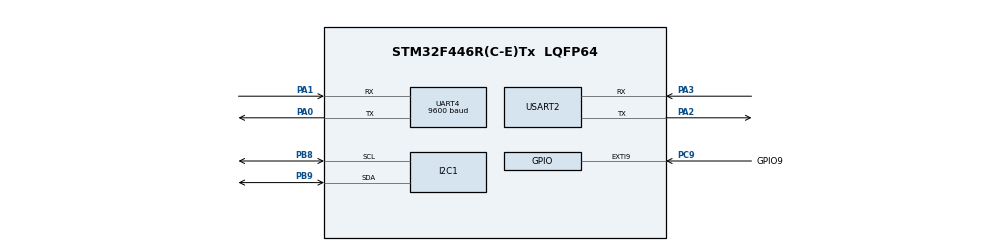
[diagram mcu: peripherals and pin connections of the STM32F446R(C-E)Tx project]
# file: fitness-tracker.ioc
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Mcu.Family=STM32F4
Mcu.Name=STM32F446R(C-E)Tx
Mcu.Package=LQFP64
NVIC.EXTI9_5_IRQn=true\:0\:0\:false\:false\:true\:true\:true\:true
NVIC.PriorityGroup=NVIC_PRIORITYGROUP_4
NVIC.TIM6_DAC_IRQn=true\:15\:0\:false\:false\:true\:false\:true\:true
NVIC.TimeBase=TIM6_DAC_IRQn
NVIC.TimeBaseIP=TIM6
NVIC.UART4_IRQn=true\:0\:0\:false\:false\:true\:true\:true\:true
PA0-WKUP.Mode=Asynchronous
PA0-WKUP.Signal=UART4_TX
PA1.Mode=Asynchronous
PA1.Signal=UART4_RX
PA13.Mode=Trace_Asynchronous_SW
PA13.Signal=SYS_JTMS-SWDIO
PA14.Mode=Trace_Asynchronous_SW
PA14.Signal=SYS_JTCK-SWCLK
PA2.Mode=Asynchronous
PA2.Signal=USART2_TX
PA3.Mode=Asynchronous
PA3.Signal=USART2_RX
PB3.Mode=Trace_Asynchronous_SW
PB3.Signal=SYS_JTDO-SWO
PB8.GPIO_Pu=GPIO_PULLUP
PB8.Mode=I2C
PB8.Signal=I2C1_SCL
PB9.GPIO_Pu=GPIO_PULLUP
PB9.Mode=I2C
PB9.Signal=I2C1_SDA
PC9.GPIO_Label=GPIO9
PC9.GPIO_ModeDefaultEXTI=GPIO_MODE_IT_FALLING
PC9.GPIO_PuPd=GPIO_PULLUP
PC9.Signal=GPXTI9
ProjectManager.HeapSize=0x200
ProjectManager.StackSize=0x400
ProjectManager.TargetToolchain=STM32CubeIDE
RCC.CortexFreq_Value=16000000
RCC.USBFreq_Value=96000000
RCC.VCOOutputFreq_Value=192000000
UART4.BaudRate=9600
UART4.VirtualMode=Asynchronous
USART2.VirtualMode=VM_ASYNC
VP_SYS_VS_tim6.Mode=TIM6
board=custom

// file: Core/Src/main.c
/* USER CODE BEGIN Header */
/**
  ******************************************************************************
  * @file           : main.c
  * @brief          : Main program body
  ******************************************************************************
  * @attention
  *
  * Copyright (c) 2024 STMicroelectronics.
  * All rights reserved.
  *
  * This software is licensed under terms that can be found in the LICENSE file
  * in the root directory of this software component.
  * If no LICENSE file comes with this software, it is provided AS-IS.
  *
  ******************************************************************************
  */
/* USER CODE END Header */
#include "main.h"

/* USER CODE BEGIN Includes */
#include "MAX30102.h"
#include "NEO-6M.h"
#include <stdio.h>
#include <string.h>

/* USER CODE END Includes */

/* USER CODE BEGIN PD */
#define BUFFER_SIZE 100
#define SAMPLE_SIZE 100
#define SAMPLING_RATE 100
#define MOVING_AVERAGE_SIZE 4
#define SPO2_MOVING_AVERAGE_SIZE 4

/* USER CODE END PD */

I2C_HandleTypeDef hi2c1;

UART_HandleTypeDef huart4;
UART_HandleTypeDef huart2;

/* USER CODE BEGIN PV */
int __io_putchar(int ch)
{
  HAL_UART_Transmit(&huart2, (uint8_t*)&ch, 1, HAL_MAX_DELAY);
  return ch;
}

max30102_t max30102;
/* USER CODE END PV */

void SystemClock_Config(void);
static void MX_GPIO_Init(void);
static void MX_I2C1_Init(void);
static void MX_USART2_UART_Init(void);
static void MX_UART4_Init(void);

int main(void)
{
  /* USER CODE BEGIN 1 */
//uint8_t buffer[BUFFER_SIZE];
//uint32_t redLedValue, irLedValue;
//uint32_t redBuffer[SAMPLE_SIZE], irBuffer[SAMPLE_SIZE];
//uint8_t sampleIndex = 0;

  /* USER CODE END 1 */

  /* MCU Configuration--------------------------------------------------------*/

  /* Reset of all peripherals, Initializes the Flash interface and the Systick. */
  HAL_Init();

  /* Configure the system clock */
  SystemClock_Config();

  /* Initialize all configured peripherals */
  MX_GPIO_Init();
  MX_I2C1_Init();
  MX_USART2_UART_Init();
  MX_UART4_Init();
  /* USER CODE BEGIN 2 */
  MAX30102_init(&max30102, &hi2c1);
  MAX30102_reset(&max30102);
  MAX30102_clearFifo(&max30102);
  MAX30102_setFifoConfig(&max30102, max30102_smp_ave_8, 1, 7);

  // Set sensor settings and mode
  MAX30102_setSettings(&max30102);

  uint8_t en_reg[2] = {0};
  MAX30102_read(&max30102, 0x00, en_reg, 1);

  /* USER CODE END 2 */

  /* Infinite loop */
  /* USER CODE BEGIN WHILE */
  while (1)
  {
	  if (MAX30102_hasInterrupt(&max30102))
	  {
		  MAX30102_interruptHandler(&max30102);
	  }
	  getGPSValue(&huart4);
    /* USER CODE END WHILE */

  }
}

void SystemClock_Config(void)
{
  RCC_OscInitTypeDef RCC_OscInitStruct = {0};
  RCC_ClkInitTypeDef RCC_ClkInitStruct = {0};

  /** Configure the main internal regulator output voltage
  */
  __HAL_RCC_PWR_CLK_ENABLE();
  __HAL_PWR_VOLTAGESCALING_CONFIG(PWR_REGULATOR_VOLTAGE_SCALE3);

  /** Initializes the RCC Oscillators according to the specified parameters
  * in the RCC_OscInitTypeDef structure.
  */
  RCC_OscInitStruct.OscillatorType = RCC_OSCILLATORTYPE_HSI;
  RCC_OscInitStruct.HSIState = RCC_HSI_ON;
  RCC_OscInitStruct.HSICalibrationValue = RCC_HSICALIBRATION_DEFAULT;
  RCC_OscInitStruct.PLL.PLLState = RCC_PLL_NONE;
  if (HAL_RCC_OscConfig(&RCC_OscInitStruct) != HAL_OK)
  {
    Error_Handler();
  }

  /** Initializes the CPU, AHB and APB buses clocks
  */
  RCC_ClkInitStruct.ClockType = RCC_CLOCKTYPE_HCLK|RCC_CLOCKTYPE_SYSCLK
                              |RCC_CLOCKTYPE_PCLK1|RCC_CLOCKTYPE_PCLK2;
  RCC_ClkInitStruct.SYSCLKSource = RCC_SYSCLKSOURCE_HSI;
  RCC_ClkInitStruct.AHBCLKDivider = RCC_SYSCLK_DIV1;
  RCC_ClkInitStruct.APB1CLKDivider = RCC_HCLK_DIV1;
  RCC_ClkInitStruct.APB2CLKDivider = RCC_HCLK_DIV1;

  if (HAL_RCC_ClockConfig(&RCC_ClkInitStruct, FLASH_LATENCY_0) != HAL_OK)
  {
    Error_Handler();
  }
}

static void MX_I2C1_Init(void)
{

  hi2c1.Instance = I2C1;
  hi2c1.Init.ClockSpeed = 100000;
  hi2c1.Init.DutyCycle = I2C_DUTYCYCLE_2;
  hi2c1.Init.OwnAddress1 = 0;
  hi2c1.Init.AddressingMode = I2C_ADDRESSINGMODE_7BIT;
  hi2c1.Init.DualAddressMode = I2C_DUALADDRESS_DISABLE;
  hi2c1.Init.OwnAddress2 = 0;
  hi2c1.Init.GeneralCallMode = I2C_GENERALCALL_DISABLE;
  hi2c1.Init.NoStretchMode = I2C_NOSTRETCH_DISABLE;
  if (HAL_I2C_Init(&hi2c1) != HAL_OK)
  {
    Error_Handler();
  }

}

static void MX_UART4_Init(void)
{

  huart4.Instance = UART4;
  huart4.Init.BaudRate = 9600;
  huart4.Init.WordLength = UART_WORDLENGTH_8B;
  huart4.Init.StopBits = UART_STOPBITS_1;
  huart4.Init.Parity = UART_PARITY_NONE;
  huart4.Init.Mode = UART_MODE_TX_RX;
  huart4.Init.HwFlowCtl = UART_HWCONTROL_NONE;
  huart4.Init.OverSampling = UART_OVERSAMPLING_16;
  if (HAL_UART_Init(&huart4) != HAL_OK)
  {
    Error_Handler();
  }

}

static void MX_USART2_UART_Init(void)
{

  huart2.Instance = USART2;
  huart2.Init.BaudRate = 115200;
  huart2.Init.WordLength = UART_WORDLENGTH_8B;
  huart2.Init.StopBits = UART_STOPBITS_1;
  huart2.Init.Parity = UART_PARITY_NONE;
  huart2.Init.Mode = UART_MODE_TX_RX;
  huart2.Init.HwFlowCtl = UART_HWCONTROL_NONE;
  huart2.Init.OverSampling = UART_OVERSAMPLING_16;
  if (HAL_UART_Init(&huart2) != HAL_OK)
  {
    Error_Handler();
  }

}

static void MX_GPIO_Init(void)
{
  GPIO_InitTypeDef GPIO_InitStruct = {0};

  /* GPIO Ports Clock Enable */
  __HAL_RCC_GPIOA_CLK_ENABLE();
  __HAL_RCC_GPIOC_CLK_ENABLE();
  __HAL_RCC_GPIOB_CLK_ENABLE();

  /*Configure GPIO pin : GPIO9_Pin */
  GPIO_InitStruct.Pin = GPIO9_Pin;
  GPIO_InitStruct.Mode = GPIO_MODE_IT_FALLING;
  GPIO_InitStruct.Pull = GPIO_PULLUP;
  HAL_GPIO_Init(GPIO9_GPIO_Port, &GPIO_InitStruct);

  /* EXTI interrupt init*/
  HAL_NVIC_SetPriority(EXTI9_5_IRQn, 0, 0);
  HAL_NVIC_EnableIRQ(EXTI9_5_IRQn);

}

void HAL_TIM_PeriodElapsedCallback(TIM_HandleTypeDef *htim)
{
  if (htim->Instance == TIM6) {
    HAL_IncTick();
  }
}

void Error_Handler(void)
{
  __disable_irq();
  while (1)
  {
  }
}
